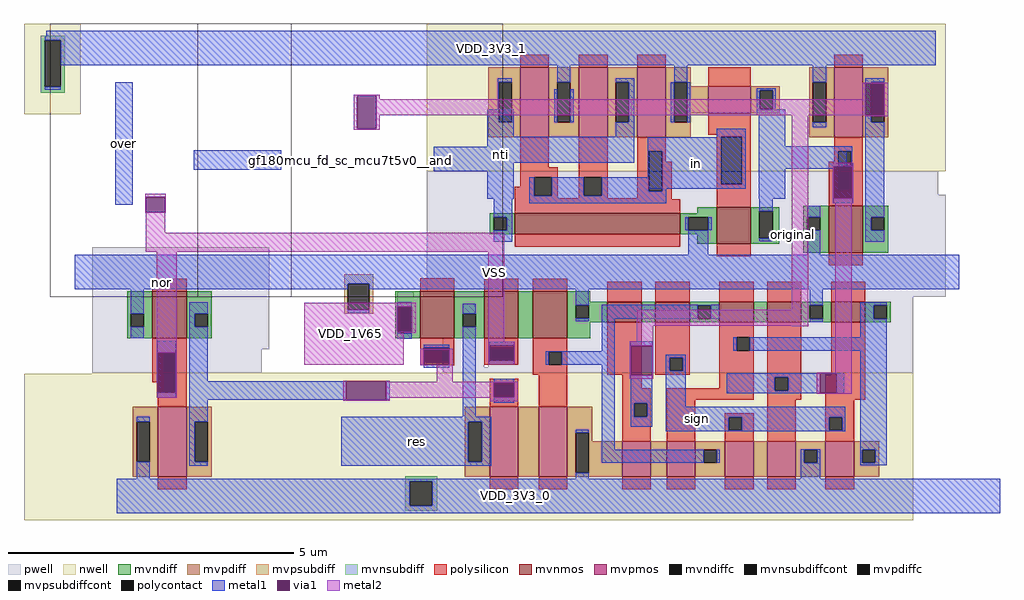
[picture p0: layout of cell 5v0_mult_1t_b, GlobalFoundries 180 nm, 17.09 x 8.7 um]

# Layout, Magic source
magic
tech gf180mcuD
magscale 1 10
<< nwell >>
rect -2398 -701 -2199 -384
rect -1994 -1610 -1830 -1606
rect -1767 -1610 716 -1606
rect -2398 -2124 716 -1610
<< pwell >>
rect -932 -1322 716 -1187
rect -1091 -1340 -1034 -1322
rect -1001 -1340 716 -1322
rect -1091 -1486 716 -1340
rect -932 -1578 716 -1486
rect -932 -1587 -787 -1578
rect -773 -1587 716 -1578
rect -932 -1606 716 -1587
<< mvnmos >>
rect -1011 -1486 -891 -1322
rect -787 -1486 -667 -1322
rect -616 -1486 -496 -1322
rect -356 -1430 -236 -1358
rect -188 -1430 -68 -1358
rect 36 -1430 156 -1358
rect 204 -1430 324 -1358
rect 428 -1430 548 -1358
<< mvpmos >>
rect -767 -1970 -667 -1726
rect -596 -1970 -496 -1726
rect -303 -1970 -203 -1847
rect -148 -1970 -48 -1847
rect 56 -1970 156 -1847
rect 204 -1970 304 -1847
rect 408 -1970 508 -1847
<< mvndiff >>
rect -1099 -1375 -1011 -1322
rect -1099 -1469 -1086 -1375
rect -1040 -1469 -1011 -1375
rect -1099 -1486 -1011 -1469
rect -891 -1400 -787 -1322
rect -891 -1446 -862 -1400
rect -816 -1446 -787 -1400
rect -891 -1486 -787 -1446
rect -667 -1486 -616 -1322
rect -496 -1358 -416 -1322
rect -496 -1370 -356 -1358
rect -496 -1416 -467 -1370
rect -421 -1416 -356 -1370
rect -496 -1430 -356 -1416
rect -236 -1430 -188 -1358
rect -68 -1371 36 -1358
rect -68 -1417 -39 -1371
rect 7 -1417 36 -1371
rect -68 -1430 36 -1417
rect 156 -1430 204 -1358
rect 324 -1371 428 -1358
rect 324 -1417 353 -1371
rect 399 -1417 428 -1371
rect 324 -1430 428 -1417
rect 548 -1371 636 -1358
rect 548 -1417 577 -1371
rect 623 -1417 636 -1371
rect 548 -1430 636 -1417
rect -496 -1486 -416 -1430
<< mvpdiff >>
rect -855 -1779 -767 -1726
rect -855 -1919 -842 -1779
rect -796 -1919 -767 -1779
rect -855 -1970 -767 -1919
rect -667 -1970 -596 -1726
rect -496 -1817 -408 -1726
rect -496 -1957 -467 -1817
rect -421 -1847 -408 -1817
rect -421 -1957 -303 -1847
rect -496 -1970 -303 -1957
rect -203 -1970 -148 -1847
rect -48 -1876 56 -1847
rect -48 -1922 -19 -1876
rect 27 -1922 56 -1876
rect -48 -1970 56 -1922
rect 156 -1970 204 -1847
rect 304 -1876 408 -1847
rect 304 -1922 333 -1876
rect 379 -1922 408 -1876
rect 304 -1970 408 -1922
rect 508 -1876 596 -1847
rect 508 -1922 537 -1876
rect 583 -1922 596 -1876
rect 508 -1970 596 -1922
<< mvndiffc >>
rect -1086 -1469 -1040 -1375
rect -862 -1446 -816 -1400
rect -467 -1416 -421 -1370
rect -39 -1417 7 -1371
rect 353 -1417 399 -1371
rect 577 -1417 623 -1371
<< mvpdiffc >>
rect -842 -1919 -796 -1779
rect -467 -1957 -421 -1817
rect -19 -1922 27 -1876
rect 333 -1922 379 -1876
rect 537 -1922 583 -1876
<< mvpsubdiff >>
rect -1277 -1295 -1176 -1262
rect -1277 -1386 -1264 -1295
rect -1189 -1386 -1176 -1295
rect -1277 -1400 -1176 -1386
<< mvnsubdiff >>
rect -2339 -442 -2256 -427
rect -2339 -605 -2326 -442
rect -2269 -605 -2256 -442
rect -2339 -627 -2256 -605
rect -1064 -1986 -952 -1969
rect -1064 -2072 -1048 -1986
rect -968 -2072 -952 -1986
rect -1064 -2089 -952 -2072
<< mvpsubdiffcont >>
rect -1264 -1386 -1189 -1295
<< mvnsubdiffcont >>
rect -2326 -605 -2269 -442
rect -1048 -2072 -968 -1986
<< polysilicon >>
rect 27 -1199 147 -1187
rect 419 -1230 539 -1187
rect -1011 -1322 -891 -1276
rect -787 -1322 -667 -1277
rect -616 -1322 -496 -1278
rect -356 -1358 -236 -1289
rect -188 -1358 -68 -1289
rect 36 -1358 156 -1289
rect 204 -1358 324 -1289
rect 428 -1358 548 -1289
rect -1011 -1519 -891 -1486
rect -1011 -1568 -998 -1519
rect -909 -1568 -891 -1519
rect -1011 -1581 -891 -1568
rect -787 -1519 -667 -1486
rect -787 -1565 -770 -1519
rect -681 -1565 -667 -1519
rect -787 -1578 -667 -1565
rect -616 -1533 -496 -1486
rect -616 -1579 -561 -1533
rect -515 -1579 -496 -1533
rect -616 -1613 -496 -1579
rect -356 -1613 -236 -1430
rect -188 -1554 -68 -1430
rect -188 -1600 -137 -1554
rect -91 -1600 -68 -1554
rect -188 -1613 -68 -1600
rect 36 -1483 156 -1430
rect 36 -1529 97 -1483
rect 143 -1529 156 -1483
rect -767 -1647 -667 -1627
rect -767 -1693 -754 -1647
rect -681 -1693 -667 -1647
rect -767 -1726 -667 -1693
rect -596 -1726 -496 -1613
rect -303 -1661 -236 -1613
rect 36 -1661 156 -1529
rect -303 -1714 -203 -1661
rect -303 -1760 -262 -1714
rect -216 -1760 -203 -1714
rect -303 -1847 -203 -1760
rect -148 -1701 156 -1661
rect 204 -1623 324 -1430
rect 428 -1613 548 -1430
rect 204 -1669 231 -1623
rect 277 -1669 324 -1623
rect 204 -1701 324 -1669
rect 408 -1701 548 -1613
rect -148 -1847 -48 -1701
rect 56 -1762 156 -1749
rect 56 -1808 69 -1762
rect 115 -1808 156 -1762
rect 56 -1847 156 -1808
rect 204 -1847 304 -1701
rect 408 -1762 508 -1701
rect 408 -1808 421 -1762
rect 467 -1808 508 -1762
rect 408 -1847 508 -1808
rect -767 -2014 -667 -1970
rect -596 -2014 -496 -1970
rect -303 -2014 -203 -1970
rect -148 -2014 -48 -1970
rect 56 -2014 156 -1970
rect 204 -2014 304 -1970
rect 408 -2014 508 -1970
<< polycontact >>
rect -998 -1568 -909 -1519
rect -770 -1565 -681 -1519
rect -561 -1579 -515 -1533
rect -137 -1600 -91 -1554
rect 97 -1529 143 -1483
rect -754 -1693 -681 -1647
rect -262 -1760 -216 -1714
rect 231 -1669 277 -1623
rect 69 -1808 115 -1762
rect 421 -1808 467 -1762
<< metal1 >>
rect -2320 -431 794 -410
rect -2326 -442 794 -431
rect -2269 -530 794 -442
rect -2326 -616 -2269 -605
rect -2079 -1018 -2018 -590
rect -776 -816 -683 -685
rect -1803 -896 -1497 -828
rect -963 -902 -683 -816
rect -1903 -1044 -1901 -992
rect -776 -997 -683 -902
rect -215 -963 129 -783
rect 180 -884 483 -814
rect 180 -892 437 -884
rect -72 -1194 -2 -1187
rect 344 -1194 390 -1187
rect -2220 -1295 876 -1194
rect -2220 -1314 -1264 -1295
rect -1189 -1314 876 -1295
rect -1264 -1397 -1189 -1386
rect -1092 -1375 -1040 -1360
rect -1092 -1469 -1086 -1464
rect -1092 -1487 -1040 -1469
rect -862 -1400 -816 -1365
rect -467 -1370 -421 -1314
rect -467 -1427 -421 -1416
rect -375 -1371 36 -1369
rect -375 -1417 -39 -1371
rect 7 -1417 36 -1371
rect 353 -1371 399 -1314
rect -998 -1519 -909 -1508
rect -998 -1590 -909 -1578
rect -1796 -1702 -1269 -1636
rect -1129 -1702 -1117 -1636
rect -862 -1760 -816 -1446
rect -770 -1511 -681 -1499
rect -375 -1532 -329 -1417
rect 353 -1430 399 -1417
rect 530 -1371 623 -1360
rect 530 -1417 577 -1371
rect 530 -1483 623 -1417
rect -770 -1577 -681 -1565
rect -572 -1533 -329 -1532
rect -572 -1579 -561 -1533
rect -515 -1579 -329 -1533
rect -754 -1641 -681 -1627
rect -754 -1712 -681 -1693
rect -1288 -1779 -763 -1760
rect -1288 -1919 -842 -1779
rect -796 -1919 -763 -1779
rect -1288 -1932 -763 -1919
rect -467 -1817 -421 -1806
rect -375 -1876 -329 -1579
rect -274 -1512 -198 -1496
rect 85 -1529 97 -1483
rect 143 -1529 623 -1483
rect -274 -1714 -198 -1615
rect -274 -1760 -262 -1714
rect -216 -1760 -198 -1714
rect -274 -1796 -198 -1760
rect -152 -1554 -81 -1543
rect -152 -1600 -137 -1554
rect -91 -1600 -81 -1554
rect -152 -1726 -81 -1600
rect 62 -1623 390 -1608
rect 62 -1669 231 -1623
rect 277 -1669 390 -1623
rect 62 -1678 390 -1669
rect 447 -1678 474 -1608
rect -152 -1762 478 -1726
rect -152 -1808 69 -1762
rect 115 -1808 421 -1762
rect 467 -1808 478 -1762
rect -152 -1811 478 -1808
rect 322 -1876 390 -1875
rect -375 -1922 -19 -1876
rect 27 -1922 38 -1876
rect 322 -1922 333 -1876
rect 379 -1922 390 -1876
rect -467 -1978 -421 -1957
rect 322 -1978 390 -1922
rect 530 -1876 623 -1529
rect 530 -1922 537 -1876
rect 583 -1922 623 -1876
rect 530 -1930 623 -1922
rect -2073 -1986 1019 -1978
rect -2073 -2072 -1048 -1986
rect -968 -2072 1019 -1986
rect -2073 -2098 1019 -2072
<< via1 >>
rect -1232 -752 -1164 -637
rect 548 -706 614 -594
rect -1972 -1044 -1903 -992
rect 437 -996 502 -884
rect -1092 -1464 -1086 -1375
rect -1086 -1464 -1040 -1375
rect -1931 -1677 -1866 -1537
rect -998 -1568 -909 -1525
rect -998 -1578 -909 -1568
rect -1269 -1702 -1129 -1636
rect -770 -1519 -681 -1511
rect -770 -1565 -681 -1519
rect -754 -1647 -681 -1641
rect -754 -1693 -681 -1647
rect -274 -1615 -198 -1512
rect 390 -1678 447 -1608
<< metal2 >>
rect 536 -594 627 -592
rect -1244 -637 -1152 -634
rect -1244 -752 -1232 -637
rect -1164 -649 -1152 -637
rect 536 -649 548 -594
rect -1164 -706 548 -649
rect 614 -706 627 -594
rect -1164 -752 -1152 -706
rect -1244 -756 -1152 -752
rect -1974 -992 -1901 -980
rect -1974 -1044 -1972 -992
rect -1903 -1044 -1901 -992
rect -1974 -1046 -1901 -1044
rect -1972 -1116 -1903 -1046
rect -1972 -1183 -716 -1116
rect -1933 -1537 -1864 -1183
rect -1933 -1677 -1931 -1537
rect -1866 -1677 -1864 -1537
rect -1416 -1375 -1027 -1361
rect -1416 -1464 -1092 -1375
rect -1040 -1464 -1027 -1375
rect -1416 -1466 -1027 -1464
rect -1416 -1578 -1068 -1466
rect -772 -1499 -716 -1183
rect 290 -1386 347 -706
rect 546 -708 627 -706
rect 434 -884 506 -872
rect 434 -996 437 -884
rect 502 -996 506 -884
rect 434 -1014 506 -996
rect -252 -1443 347 -1386
rect -252 -1496 -195 -1443
rect 290 -1444 347 -1443
rect -772 -1511 -679 -1499
rect -1011 -1525 -897 -1522
rect -1011 -1578 -998 -1525
rect -909 -1578 -897 -1525
rect -772 -1565 -770 -1511
rect -681 -1565 -679 -1511
rect -772 -1577 -679 -1565
rect -278 -1512 -195 -1496
rect -1011 -1580 -897 -1578
rect -1933 -1694 -1864 -1677
rect -1281 -1636 -1117 -1634
rect -1281 -1702 -1269 -1636
rect -1129 -1638 -1117 -1636
rect -953 -1638 -897 -1580
rect -278 -1615 -274 -1512
rect -198 -1615 -195 -1512
rect 443 -1606 500 -1014
rect -278 -1627 -195 -1615
rect 378 -1608 500 -1606
rect -1129 -1641 -669 -1638
rect -1129 -1693 -754 -1641
rect -681 -1693 -669 -1641
rect 378 -1678 390 -1608
rect 447 -1678 500 -1608
rect 378 -1680 500 -1678
rect -1129 -1694 -669 -1693
rect -1129 -1702 -1117 -1694
rect -1281 -1704 -1117 -1702
rect -766 -1706 -669 -1694
use gf180mcu_fd_sc_mcu7t5v0__and2_1  gf180mcu_fd_sc_mcu7t5v0__and2_1_0 $PDKPATH/libs.ref/gf180mcu_fd_sc_mcu7t5v0/mag
transform -1 0 -808 0 1 -1254
box -86 -86 982 870
use gf180mcu_fd_sc_mcu7t5v0__nor2_1  gf180mcu_fd_sc_mcu7t5v0__nor2_1_0 $PDKPATH/libs.ref/gf180mcu_fd_sc_mcu7t5v0/mag
transform 1 0 -2220 0 1 -1254
box -86 -86 758 870
use inverter_pair_short  inverter_pair_short_0 /home/eclipse
transform -1 0 -63 0 1 -1198
box -556 -142 925 814
use not_internal_4  not_internal_4_0 /home/eclipse
transform 1 0 -2073 0 -1 -1254
box -86 -86 534 870
use not_internal_4  not_internal_4_1
transform 1 0 295 0 1 -1254
box -86 -86 534 870
<< labels >>
rlabel metal1 -2079 -1018 -2018 -590 1 over
port 18 n signal bidirectional
rlabel metal1 -2269 -530 743 -410 1 VDD_3V3_1
port 16 n power bidirectional
rlabel metal2 -1933 -1537 -1903 -1044 1 nor
port 14 n signal bidirectional
rlabel metal1 -215 -963 129 -783 1 in
port 1 n signal bidirectional
rlabel metal1 -776 -997 -683 -685 1 nti
port 12 n
rlabel metal1 -1288 -1932 -763 -1760 1 res
port 5 n signal bidirectional
rlabel metal2 -1416 -1578 -1092 -1361 1 VDD_1V65
port 9 n signal bidirectional
rlabel metal1 -2073 -2098 716 -1978 1 VDD_3V3_0
port 17 n power bidirectional
rlabel metal2 290 -1444 294 -804 1 original
port 10 n signal bidirectional
rlabel metal1 -2220 -1314 716 -1194 1 VSS
port 15 n ground bidirectional
rlabel metal1 -152 -1811 69 -1726 1 sign
port 19 n
<< end >>

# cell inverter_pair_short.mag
magic
tech gf180mcuD
magscale 1 10
<< nwell >>
rect -556 296 925 814
<< pwell >>
rect -556 4 925 296
rect -556 -1 -444 4
rect -435 -1 925 4
rect -556 -116 925 -1
rect -253 -142 925 -116
<< mvnmos >>
rect -210 43 -90 170
rect 38 77 616 149
<< mvpmos >>
rect -210 499 -60 595
rect 88 416 188 660
rect 292 416 392 660
rect 497 416 597 660
<< mvndiff >>
rect -310 157 -210 170
rect -310 63 -286 157
rect -239 63 -210 157
rect -310 43 -210 63
rect -90 149 -22 170
rect -90 136 38 149
rect -90 90 -61 136
rect 9 90 38 136
rect -90 77 38 90
rect 616 136 704 149
rect 616 90 645 136
rect 691 90 704 136
rect 616 77 704 90
rect -90 43 -22 77
<< mvpdiff >>
rect 0 609 88 660
rect 0 595 13 609
rect -311 580 -210 595
rect -311 513 -287 580
rect -241 513 -210 580
rect -311 499 -210 513
rect -60 499 13 595
rect 0 469 13 499
rect 59 469 88 609
rect 0 416 88 469
rect 188 609 292 660
rect 188 469 217 609
rect 263 469 292 609
rect 188 416 292 469
rect 392 609 497 660
rect 392 469 422 609
rect 468 469 497 609
rect 392 416 497 469
rect 597 609 709 660
rect 597 469 627 609
rect 673 469 709 609
rect 597 416 709 469
<< mvndiffc >>
rect -286 63 -239 157
rect -61 90 9 136
rect 645 90 691 136
<< mvpdiffc >>
rect -287 513 -241 580
rect 13 469 59 609
rect 217 469 263 609
rect 422 469 468 609
rect 627 469 673 609
<< polysilicon >>
rect 88 660 188 704
rect 292 660 392 704
rect 497 660 597 704
rect -210 595 -60 660
rect -210 425 -60 499
rect -210 418 -90 425
rect -210 251 -177 418
rect -106 251 -90 418
rect 88 367 188 416
rect 88 330 101 367
rect -210 170 -90 251
rect 68 227 101 330
rect 147 227 188 367
rect 68 202 188 227
rect 292 276 392 416
rect 497 311 597 416
rect 292 211 313 276
rect 375 211 392 276
rect 292 202 392 211
rect 466 276 597 311
rect 466 211 487 276
rect 549 243 597 276
rect 549 211 616 243
rect 466 202 616 211
rect 68 199 616 202
rect 38 149 616 199
rect -210 -1 -90 43
rect 38 33 616 77
<< polycontact >>
rect -177 251 -106 418
rect 101 227 147 367
rect 313 211 375 276
rect 487 211 549 276
<< metal1 >>
rect -556 668 840 788
rect 13 609 59 668
rect 198 609 263 622
rect -297 580 -231 587
rect -297 513 -287 580
rect -241 513 -231 580
rect -331 492 -231 513
rect -331 201 -238 492
rect 2 469 13 609
rect 59 469 70 609
rect 198 469 217 609
rect 422 609 468 668
rect 411 469 422 583
rect 627 609 676 622
rect 468 469 479 583
rect 673 469 676 609
rect -192 418 -90 446
rect -192 251 -177 418
rect -106 416 -90 418
rect 198 417 263 469
rect 627 417 676 469
rect -106 367 152 416
rect -106 251 101 367
rect -192 236 101 251
rect 86 227 101 236
rect 147 276 152 367
rect 198 326 676 417
rect 147 227 313 276
rect 86 211 313 227
rect 375 211 487 276
rect 549 211 566 276
rect -286 157 -239 201
rect 86 184 566 211
rect 625 224 676 326
rect 625 136 691 224
rect -72 90 -61 136
rect 9 90 20 136
rect 625 90 645 136
rect -286 52 -239 63
rect -61 4 9 90
rect 625 50 691 90
rect -352 -116 840 4
<< labels >>
rlabel metal1 -106 236 101 416 1 in
port 1 n signal bidirectional
rlabel metal1 -331 201 -238 513 1 nti
port 2 n signal bidirectional
rlabel metal1 198 326 676 417 1 pti
port 3 n signal bidirectional
rlabel metal1 -352 -116 840 4 1 VSS
port 4 n ground bidirectional
rlabel metal1 -556 668 840 788 1 VDD_3V3
port 5 n power bidirectional
<< end >>

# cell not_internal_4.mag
magic
tech gf180mcuD
magscale 1 10
<< nwell >>
rect -86 352 534 870
<< pwell >>
rect -86 270 507 352
rect -86 -86 534 270
<< mvnmos >>
rect 124 68 244 232
<< mvpmos >>
rect 144 472 244 716
<< mvndiff >>
rect 36 192 124 232
rect 36 146 49 192
rect 95 146 124 192
rect 36 68 124 146
rect 244 192 332 232
rect 244 146 273 192
rect 319 146 332 192
rect 244 68 332 146
<< mvpdiff >>
rect 56 665 144 716
rect 56 525 69 665
rect 115 525 144 665
rect 56 472 144 525
rect 244 665 332 716
rect 244 525 273 665
rect 319 525 332 665
rect 244 472 332 525
<< mvndiffc >>
rect 49 146 95 192
rect 273 146 319 192
<< mvpdiffc >>
rect 69 525 115 665
rect 273 525 319 665
<< polysilicon >>
rect 144 716 244 760
rect 144 423 244 472
rect 144 386 157 423
rect 124 283 157 386
rect 203 283 244 423
rect 124 232 244 283
rect 124 24 244 68
<< polycontact >>
rect 157 283 203 423
<< metal1 >>
rect 0 724 448 844
rect 69 665 115 724
rect 69 506 115 525
rect 253 665 319 678
rect 253 525 273 665
rect 142 423 207 440
rect 142 283 157 423
rect 203 283 207 423
rect 142 240 207 283
rect 49 192 95 232
rect 49 60 95 146
rect 253 192 319 525
rect 253 146 273 192
rect 253 106 319 146
rect 0 -60 448 60
<< properties >>
string FIXED_BBOX 0 0 448 784
string GDS_END 476332
string GDS_FILE $PDKPATH/libs.ref/gf180mcu_fd_sc_mcu7t5v0/gds/gf180mcu_fd_sc_mcu7t5v0.gds
string GDS_START 474136
string LEFclass core
string LEFsite GF018hv5v_mcu_sc7
string LEFsymmetry X Y
<< end >>
